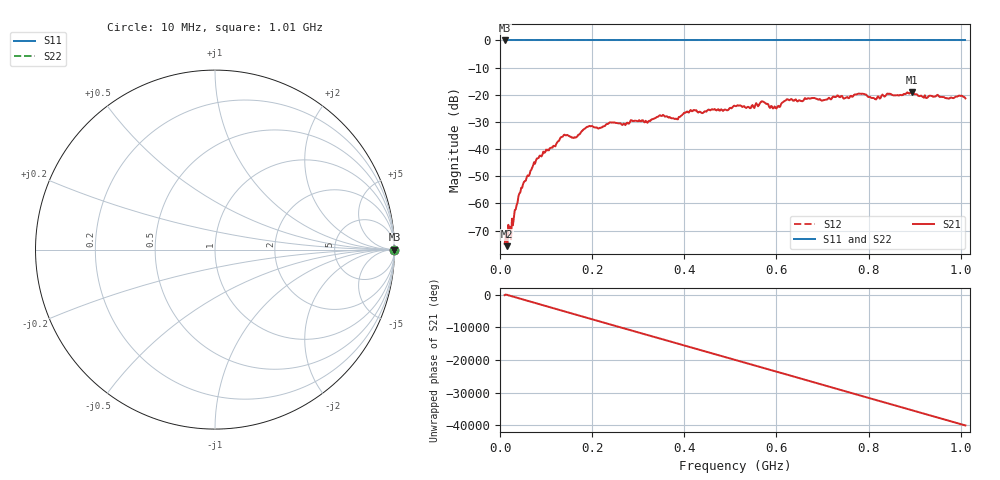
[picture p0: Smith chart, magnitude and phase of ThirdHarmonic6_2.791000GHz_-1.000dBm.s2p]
! 8/17/2025 7:13:07 AM
! C:\ANRITSUVNA\TEMP\TEMP.S2P
! CHANNEL.1
! TR.MEASUREMENT
! RAW.DATA
! RF.CORRECTION.OFF
! AVERAGING.OFF
! IF.BANDWIDTH: 5KHZ
! SWEEPTYPE:  FREQ.SWEEP(Linear)
! Reference Plane Port Info
! PORT:  PORT1  PORT2
! DISTANCE:  0  m  0  m
! TIME:  0  s  0  s
! PHASE.OFFSET:  0  deg.  0  deg.
! LOSS:  0  dB  0  dB
! REF.LOSS:  0  dB  0  dB
! REF.FREQ:  0  Hz  0  Hz
! Power Info
! POWER:  -20  dBm  -20  dBm
! EFF.POWER:  -20  dBm  -20  dBm
! SOURCE.ATTEN:  0  dB  0  dB
! TEST.ATTEN:  0  dB  0  dB
# GHZ S RI R 50.0
! FREQ.GHZ  S11RE  S11IM  S21RE  S21IM  S12RE  S12IM  S22RE  S22IM
!; PortSelection: Port_12
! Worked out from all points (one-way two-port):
!   501 points, 10 MHz to 1.01 GHz, reference 50 ohm
!   highest |S21| = -19.05 dB at 894 MHz (marker M1); lowest = -75.8 dB at 16 MHz (marker M2)
!   lowest |S11| = 0.0 dB at 10 MHz (marker M3)
!   |S11| at or under -10 dB: nowhere
!   |S22| runs from 0.0 to 0.0 dB; largest |S21 - S12| = 1.1
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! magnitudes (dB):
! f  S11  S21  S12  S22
! 10 MHz  0.0  -74.8  0.0  0.0
! 16 MHz  0.0  -75.8  0.0  0.0
! 26 MHz  0.0  -65.6  0.0  0.0
! 46 MHz  0.0  -54.3  0.0  0.0
! 78 MHz  0.0  -44.2  0.0  0.0
! 136 MHz  0.0  -35.4  0.0  0.0
! 162 MHz  0.0  -35.7  0.0  0.0
! 178 MHz  0.0  -33.3  0.0  0.0
! 344 MHz  0.0  -28.0  0.0  0.0
! 382 MHz  0.0  -28.8  0.0  0.0
! 416 MHz  0.0  -26.1  0.0  0.0
! 510 MHz  0.0  -24.1  0.0  0.0
! 540 MHz  0.0  -24.5  0.0  0.0
! 570 MHz  0.0  -22.5  0.0  0.0
! 596 MHz  0.0  -24.3  0.0  0.0
! 622 MHz  0.0  -21.7  0.0  0.0
! 678 MHz  0.0  -21.2  0.0  0.0
! 782 MHz  0.0  -19.6  0.0  0.0
! 814 MHz  0.0  -21.6  0.0  0.0
! 844 MHz  0.0  -19.7  0.0  0.0
! 894 MHz  0.0  -19.1  0.0  0.0
! 1.01 GHz  0.0  -21.3  0.0  0.0
